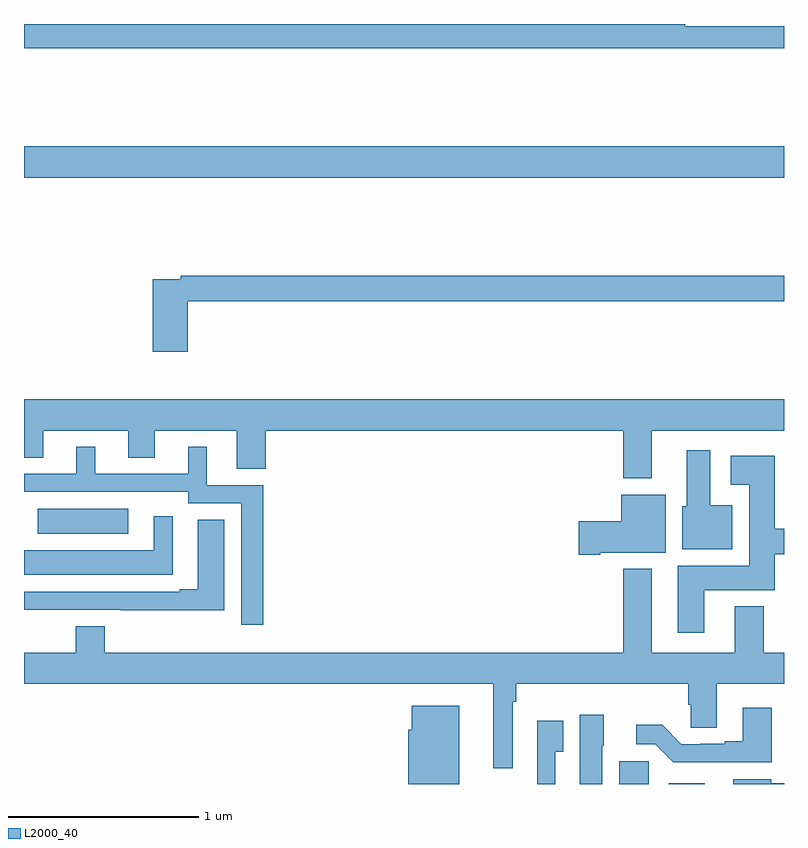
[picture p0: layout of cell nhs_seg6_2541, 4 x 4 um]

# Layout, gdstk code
import gdstk
lib = gdstk.Library(unit=1e-6, precision=1e-09)
def R(c, l, rs):  # rectangles x0, y0, x1, y1
    for r in rs: c.add(gdstk.rectangle(r[:2], r[2:], *l))
def P(c, l, *ps):  # polygons
    for p in ps: c.add(gdstk.Polygon(p, *l))
L2000_40 = (2000, 40)

nhs_seg6_2541 = lib.new_cell('nhs_seg6_2541')
R(nhs_seg6_2541, L2000_40, [(266.132,921.5,266.288,921.621), (266.394,921.5,266.584,921.505), (263.073,922.817,263.548,922.948), (263,924.692,267,924.856)])
P(nhs_seg6_2541, L2000_40, [(267,925.488),(266.48,925.488),(266.48,925.5),(263,925.5),(263,925.372),(267,925.372)],
  [(263.861,924.04),(267,924.04),(267,924.176),(263.824,924.176),(263.824,924.156),(263.678,924.156),(263.678,923.775),(263.861,923.775)],
  [(266.305,923.36),(267,923.36),(267,923.524),(263,923.524),(263,923.218),(263.101,923.218),(263.101,923.36),(263.549,923.36),(263.549,923.218),(263.689,923.218),(263.689,923.36),(264.119,923.36),(264.119,923.158),(264.272,923.158),(264.272,923.36),(266.153,923.36),(266.153,923.108),(266.305,923.108)],
  [(264.26,923.073),(263.962,923.073),(263.962,923.275),(263.864,923.275),(263.864,923.133),(263.374,923.133),(263.374,923.275),(263.276,923.275),(263.276,923.133),(263,923.133),(263,923.037),(263.865,923.037),(263.865,922.977),(264.144,922.977),(264.144,922.338),(264.26,922.338)],
  [(266.728,922.966),(266.611,922.966),(266.611,923.257),(266.489,923.257),(266.489,922.962),(266.465,922.962),(266.465,922.736),(266.728,922.736)],
  [(266.581,922.52),(266.951,922.52),(266.951,922.708),(267,922.708),(267,922.844),(266.951,922.844),(266.951,923.227),(266.721,923.227),(266.721,923.075),(266.816,923.075),(266.816,922.648),(266.441,922.648),(266.441,922.296),(266.581,922.296)],
  [(266.032,922.718),(266.377,922.718),(266.377,923.023),(266.144,923.023),(266.144,922.884),(265.92,922.884),(265.92,922.706),(266.032,922.706)],
  [(263.782,922.909),(263.684,922.909),(263.684,922.729),(263,922.729),(263,922.601),(263.782,922.601)],
  [(264.055,922.891),(263.915,922.891),(263.915,922.525),(263.819,922.525),(263.819,922.512),(263,922.512),(263,922.416),(263.509,922.416),(263.509,922.414),(264.055,922.414)],
  [(265.573,921.932),(265.591,921.932),(265.591,922.028),(266.495,922.028),(266.495,921.918),(266.508,921.918),(266.508,921.796),(266.647,921.796),(266.647,922.028),(267,922.028),(267,922.192),(266.894,922.192),(266.894,922.435),(266.741,922.435),(266.741,922.192),(266.305,922.192),(266.305,922.633),(266.153,922.633),(266.153,922.192),(263.426,922.192),(263.426,922.331),(263.273,922.331),(263.273,922.192),(263,922.192),(263,922.028),(265.469,922.028),(265.469,921.584),(265.573,921.584)],
  [(265.291,921.913),(265.04,921.913),(265.04,921.786),(265.022,921.786),(265.022,921.5),(265.291,921.5)],
  [(266.936,921.901),(266.783,921.901),(266.783,921.724),(266.687,921.724),(266.687,921.711),(266.56,921.711),(266.56,921.708),(266.46,921.708),(266.358,921.811),(266.223,921.811),(266.223,921.708),(266.322,921.708),(266.416,921.614),(266.936,921.614)],
  [(266.044,921.702),(266.05,921.702),(266.05,921.865),(265.925,921.865),(265.925,921.5),(266.044,921.5)],
  [(265.797,921.671),(265.837,921.671),(265.837,921.832),(265.701,921.832),(265.701,921.5),(265.797,921.5)],
  [(267,921.505),(266.934,921.505),(266.934,921.526),(266.732,921.526),(266.732,921.5),(267,921.5)])

lib.write_gds('nhs_seg6_2541.gds')
